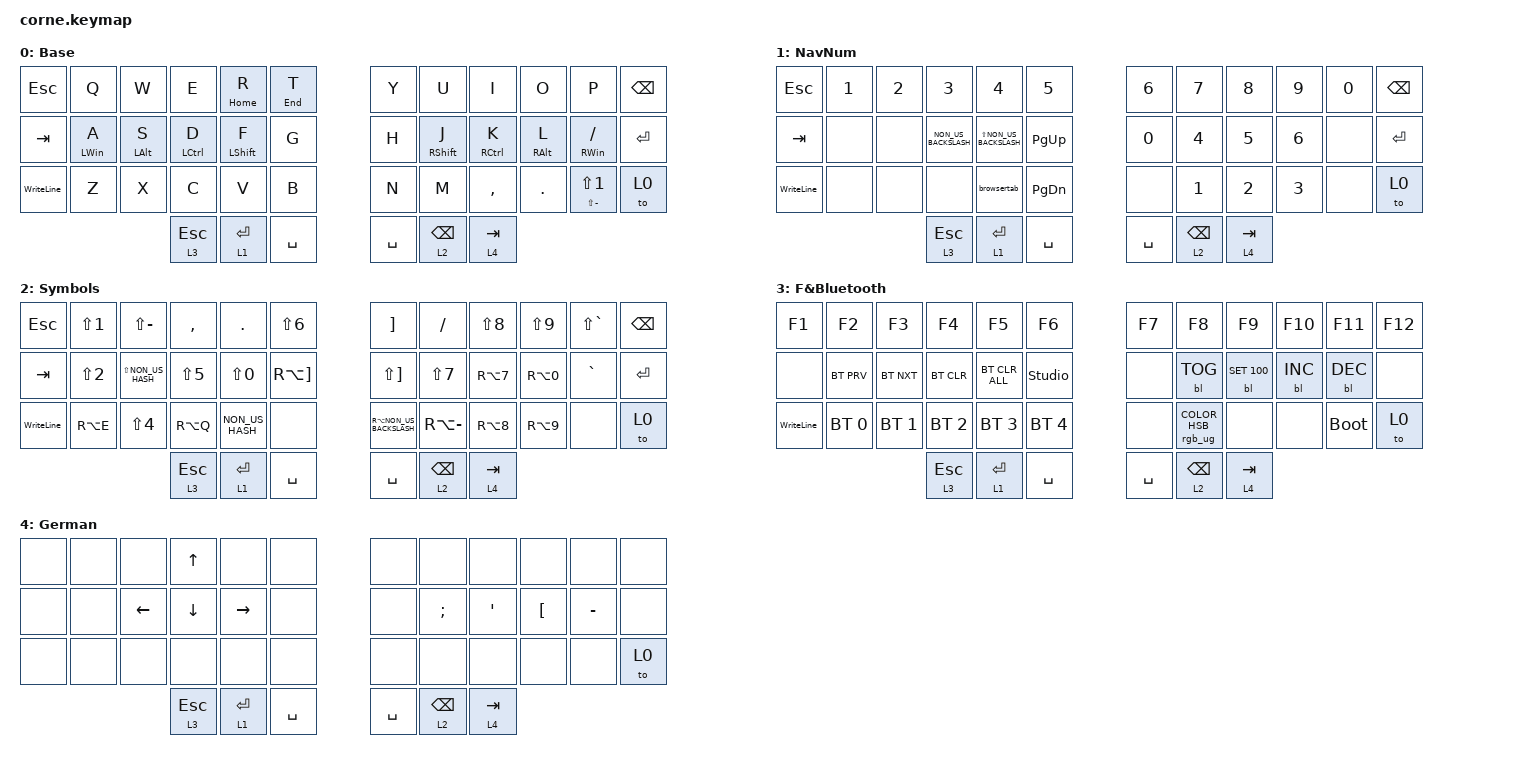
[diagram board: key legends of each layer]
#include <behaviors.dtsi>
#include <dt-bindings/zmk/backlight.h>
#include <dt-bindings/zmk/bt.h>
#include <dt-bindings/zmk/keys.h>
#include <dt-bindings/zmk/rgb.h>

#define DEF 0
#define NAV 1
#define SYM 2
#define ADJ 3
#define EXTRA 4

&mt {
    tapping-term-ms = <200>;
    quick-tap-ms = <175>;
    flavor = "tap-preferred";
    hold-trigger-key-positions = <>;
};

/ {
    behaviors {
        hm: homerow_mods {
            compatible = "zmk,behavior-hold-tap";
            #binding-cells = <2>;
            tapping-term-ms = <200>;
            flavor = "tap-preferred";
            bindings = <&kp>, <&kp>;

            quick-tap-ms = <180>;
            require-prior-idle-ms = <120>; /* tune to taste */
        };

        para: para {
            compatible = "zmk,behavior-tap-dance";
            #binding-cells = <0>;
            bindings = <&kp LEFT_PARENTHESIS>, <&kp RIGHT_PARENTHESIS>;
        };

        caps: caps {
            compatible = "zmk,behavior-caps-word";
            #binding-cells = <0>;
            continue-list = <MINUS BACKSPACE>;
        };

        paraless: paraless {
            compatible = "zmk,behavior-mod-morph";
            bindings = <&kp LEFT_PARENTHESIS>, <&kp LESS_THAN>;

            #binding-cells = <0>;
            mods = <(MOD_LSFT)>;
        };

        paragreat: paragreat {
            compatible = "zmk,behavior-mod-morph";
            bindings = <&kp RIGHT_PARENTHESIS>, <&kp GREATER_THAN>;

            #binding-cells = <0>;
            mods = <(MOD_LSFT)>;
        };
    };

    macros {
        browsertab: browsertab {
            compatible = "zmk,behavior-macro";
            #binding-cells = <0>;
            bindings =
                <&macro_press>,
                <&kp LCTRL>,
                <&macro_tap>,
                <&kp TAB>,
                <&macro_release>,
                <&kp LCTRL>;
        };

        WriteLine: WriteLine {
            compatible = "zmk,behavior-macro";
            #binding-cells = <0>;
            bindings =
                <&macro_tap>,
                <&kp LS(C) &kp O &kp N &kp S &kp O &kp L &kp E &kp PERIOD &kp LS(W) &kp R &kp I &kp T &kp E &kp LS(L) &kp I &kp N &kp E &kp LS(N8) &kp LS(N2) &kp LS(N2) &kp LS(N9) &kp LS(COMMA) &kp LEFT_ARROW &kp LEFT_ARROW &kp LEFT_ARROW>;

            label = "WRITELINE";
        };
    };

    combos {
        compatible = "zmk,combos";

        L_Enter {
            bindings = <&kp ENTER>;
            key-positions = <16 15 14>;
            layers = <0 1 2 4>;
            timeout-ms = <0>;
        };

        R_Enter {
            bindings = <&kp ENTER>;
            key-positions = <19 20 21>;
            layers = <0 1 2 4>;
        };
    };

    //

    keymap {
        compatible = "zmk,keymap";

        Base {
            display-name = "Base";

            // -----------------------------------------------------------------------------------------
            // |  Q  |  W  |  E  |  R  |  T  |   |  Y  |  U   |  I  |  O  |  P  |
            // |  A  |  S  |  D  |  F  |  G  |   |  H  |  J   |  K  |  L  |  ;  |
            // |  Z  |  X  |  C  |  V  |  B  |   |  N  |  M   |  ,  |  .  |  /  |
            // | GUI | CTRL | SHFT | LWR | SPC |   | ENT | RSE  | BKSP | ALT | ESC |

            bindings = <
&kp ESCAPE  &kp Q           &kp W           &kp E               &mt HOME R        &mt END T    &kp Y      &kp U              &kp I                &kp O            &kp P                 &kp BACKSPACE
&kp TAB     &mt LEFT_WIN A  &mt LEFT_ALT S  &mt LEFT_CONTROL D  &mt LEFT_SHIFT F  &kp G        &kp H      &mt RIGHT_SHIFT J  &mt RIGHT_CONTROL K  &mt RIGHT_ALT L  &mt RIGHT_WIN SLASH   &kp ENTER
&WriteLine  &kp Z           &kp X           &kp C               &kp V             &kp B        &kp N      &kp M              &kp COMMA            &kp DOT          &mt LS(MINUS) LS(N1)  &to 0
                                            &lt 3 ESCAPE        &lt 1 ENTER       &kp SPACE    &kp SPACE  &lt 2 BACKSPACE    &lt 4 TAB
            >;
        };

        NUM {
            display-name = "NavNum";

            // -----------------------------------------------------------------------------------------
            // |  TAB |  1  |  2  |  3  |  4  |  5  |   |  6  |  7  |  8  |  9  |  0  | BKSP |
            // | BTCLR| BT1 | BT2 | BT3 | BT4 | BT5 |   | LFT | DWN |  UP | RGT |     |      |
            // | SHFT |     |     |     |     |     |   |     |     |     |     |     |      |
            // | GUI | CTRL | SHFT | LWR | SPC |   | ENT | RSE  | BKSP | ALT | ESC |

            bindings = <
&kp ESCAPE  &kp N1  &kp N2  &kp N3                &kp N4                    &kp N5           &kp N6     &kp N7           &kp N8     &kp N9  &kp N0  &kp BACKSPACE
&kp TAB     &none   &none   &kp NON_US_BACKSLASH  &kp LS(NON_US_BACKSLASH)  &kp PAGE_UP      &kp N0     &kp N4           &kp N5     &kp N6  &none   &kp ENTER
&WriteLine  &none   &none   &none                 &browsertab               &kp PAGE_DOWN    &none      &kp N1           &kp N2     &kp N3  &none   &to 0
                            &lt 3 ESCAPE          &lt 1 ENTER               &kp SPACE        &kp SPACE  &lt 2 BACKSPACE  &lt 4 TAB
            >;
        };

        SYM {
            display-name = "Symbols";

            // -----------------------------------------------------------------------------------------
            // |  TAB |  !  |  @  |  #  |  $  |  %  |   |  ^  |  &  |  *  |  (  |  )  | BKSP |
            // | CTRL |     |     |     |     |     |   |  -  |  =  |  [  |  ]  |  \  |  `   |
            // | SHFT |     |     |     |     |     |   |  _  |  +  |  {  |  }  | "|" |  ~   |
            //                    | GUI |     | SPC |   | ENT |     | ALT |

            bindings = <
&kp ESCAPE  &kp LS(N1)  &kp LS(MINUS)        &kp COMMA     &kp DOT          &kp LS(N6)               &kp RIGHT_BRACKET         &kp SLASH        &kp LS(N8)  &kp LS(N9)  &kp LS(GRAVE)  &kp BACKSPACE
&kp TAB     &kp LS(N2)  &kp LS(NON_US_HASH)  &kp LS(N5)    &kp LS(N0)       &kp RA(RIGHT_BRACKET)    &kp LS(RIGHT_BRACKET)     &kp LS(N7)       &kp RA(N7)  &kp RA(N0)  &kp GRAVE      &kp ENTER
&WriteLine  &kp RA(E)   &kp LS(N4)           &kp RA(Q)     &kp NON_US_HASH  &none                    &kp RA(NON_US_BACKSLASH)  &kp RA(MINUS)    &kp RA(N8)  &kp RA(N9)  &none          &to 0
                                             &lt 3 ESCAPE  &lt 1 ENTER      &kp SPACE                &kp SPACE                 &lt 2 BACKSPACE  &lt 4 TAB
            >;
        };

        BT_F {
            display-name = "F&Bluetooth";
            bindings = <
&kp F1      &kp F2        &kp F3        &kp F4        &kp F5          &kp F6            &kp F7     &kp F8                            &kp F9          &kp F10     &kp F11      &kp F12
&none       &bt BT_PRV    &bt BT_NXT    &bt BT_CLR    &bt BT_CLR_ALL  &studio_unlock    &none      &bl BL_TOG                        &bl BL_SET 100  &bl BL_INC  &bl BL_DEC   &none
&WriteLine  &bt BT_SEL 0  &bt BT_SEL 1  &bt BT_SEL 2  &bt BT_SEL 3    &bt BT_SEL 4      &none      &rgb_ug RGB_COLOR_HSB(181,52,54)  &none           &none       &bootloader  &to 0
                                        &lt 3 ESCAPE  &lt 1 ENTER     &kp SPACE         &kp SPACE  &lt 2 BACKSPACE                   &lt 4 TAB
            >;
        };

        German {
            bindings = <
&none  &none  &none     &kp UP_ARROW    &none            &none        &none      &none            &none             &none             &none      &none
&none  &none  &kp LEFT  &kp DOWN_ARROW  &kp RIGHT_ARROW  &none        &none      &kp SEMI         &kp SINGLE_QUOTE  &kp LEFT_BRACKET  &kp MINUS  &none
&none  &none  &none     &none           &none            &none        &none      &none            &none             &none             &none      &to 0
                        &lt 3 ESCAPE    &lt 1 ENTER      &kp SPACE    &kp SPACE  &lt 2 BACKSPACE  &lt 4 TAB
            >;
        };
    };
};
